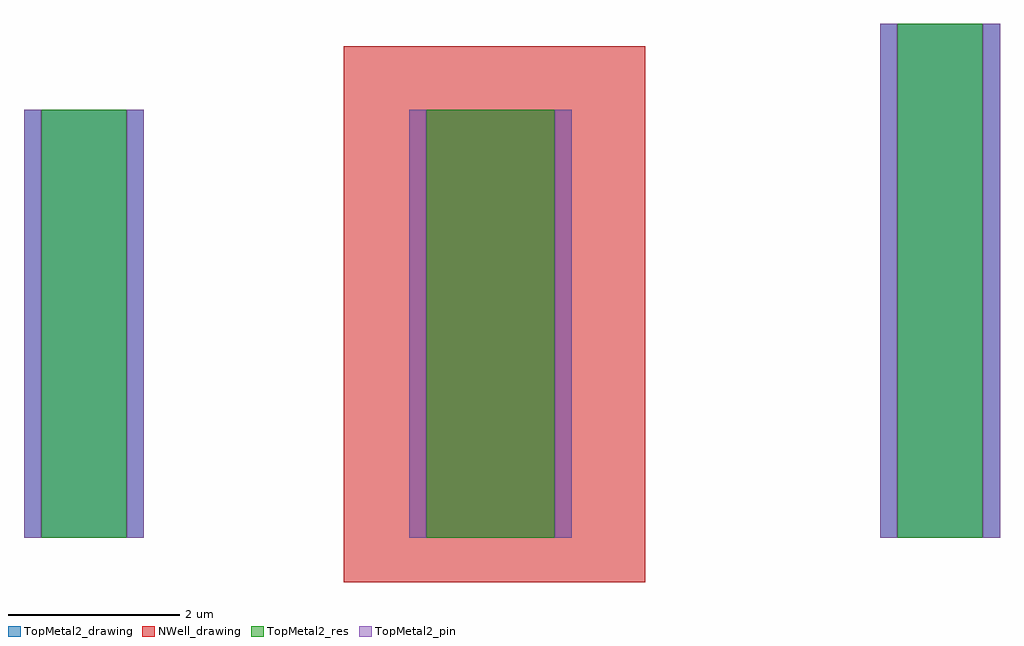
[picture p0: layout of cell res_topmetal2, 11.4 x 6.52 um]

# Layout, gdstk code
import gdstk
lib = gdstk.Library(unit=1e-6, precision=1e-09)
def R(c, l, rs):  # rectangles x0, y0, x1, y1
    for r in rs: c.add(gdstk.rectangle(r[:2], r[2:], *l))
NWell_drawing = (31, 0)
TopMetal2_drawing = (134, 0)
TopMetal2_pin = (134, 2)
TopMetal2_res = (134, 29)

res_topmetal2 = lib.new_cell('res_topmetal2')
R(res_topmetal2, NWell_drawing, [(3.032,-0.519,6.556,5.737)])
R(res_topmetal2, TopMetal2_drawing, [(-0.7,0,0.7,5), (-0.5,0,0.5,5), (3.8,0,5.2,5), (4.7,0,5.7,5), (9.3,0,10.7,6), (9.5,0,10.5,6)])
R(res_topmetal2, TopMetal2_pin, [(-0.7,0,-0.5,5), (0.5,0,0.7,5), (3.8,0,4,5), (5.5,0,5.7,5), (9.3,0,9.5,6), (10.5,0,10.7,6)])
R(res_topmetal2, TopMetal2_res, [(-0.5,0,0.5,5), (4,0,5.5,5), (9.5,0,10.5,6)])

lib.write_gds('res_topmetal2.gds')
